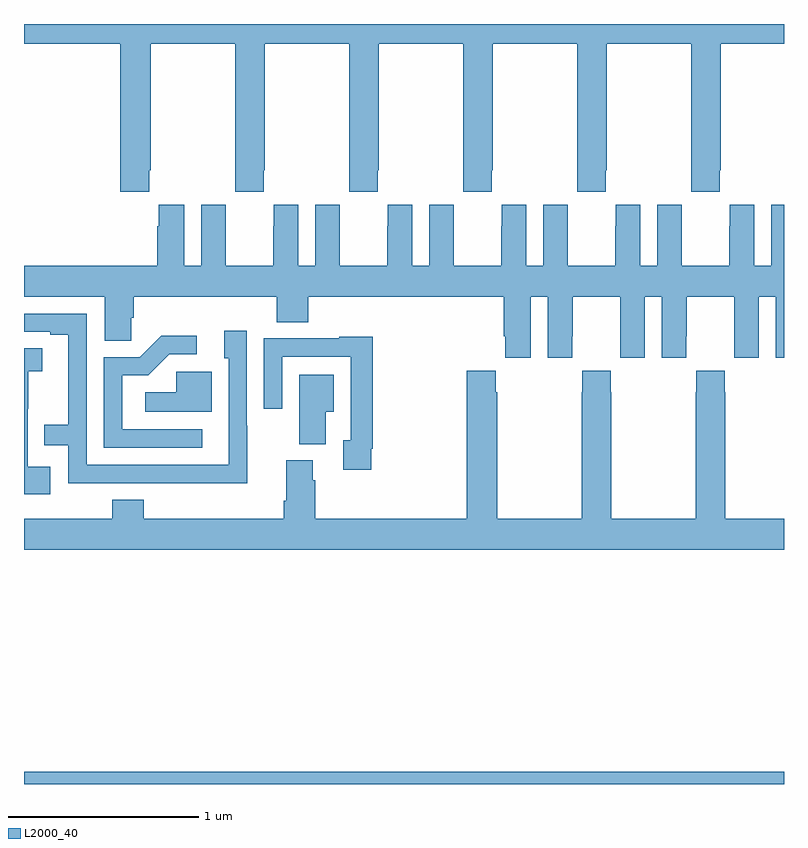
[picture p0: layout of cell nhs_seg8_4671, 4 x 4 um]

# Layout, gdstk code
import gdstk
lib = gdstk.Library(unit=1e-6, precision=1e-09)
def R(c, l, rs):  # rectangles x0, y0, x1, y1
    for r in rs: c.add(gdstk.rectangle(r[:2], r[2:], *l))
def P(c, l, *ps):  # polygons
    for p in ps: c.add(gdstk.Polygon(p, *l))
L2000_40 = (2000, 40)

nhs_seg8_4671 = lib.new_cell('nhs_seg8_4671')
R(nhs_seg8_4671, L2000_40, [(393,1149.9,397,1149.964)])
P(nhs_seg8_4671, L2000_40, [(393.659,1153.129),(393.666,1153.129),(393.666,1153.796),(394.111,1153.796),(394.111,1153.129),(394.113,1153.129),(394.113,1153.017),(394.263,1153.017),(394.263,1153.129),(394.266,1153.129),(394.266,1153.796),(394.711,1153.796),(394.711,1153.129),(394.713,1153.129),(394.713,1153.017),(394.863,1153.017),(394.863,1153.129),(394.866,1153.129),(394.866,1153.796),(395.311,1153.796),(395.311,1153.129),(395.313,1153.129),(395.313,1153.017),(395.463,1153.017),(395.463,1153.129),(395.466,1153.129),(395.466,1153.796),(395.911,1153.796),(395.911,1153.129),(395.913,1153.129),(395.913,1153.017),(396.063,1153.017),(396.063,1153.129),(396.066,1153.129),(396.066,1153.796),(396.511,1153.796),(396.511,1153.129),(396.513,1153.129),(396.513,1153.017),(396.663,1153.017),(396.663,1153.129),(396.666,1153.129),(396.666,1153.796),(397,1153.796),(397,1153.9),(393,1153.9),(393,1153.796),(393.506,1153.796),(393.506,1153.017),(393.659,1153.017)],
  [(395.668,1152.464),(395.756,1152.464),(395.756,1152.144),(395.886,1152.144),(395.886,1152.256),(395.887,1152.256),(395.887,1152.464),(396.137,1152.464),(396.137,1152.256),(396.138,1152.256),(396.138,1152.144),(396.268,1152.144),(396.268,1152.464),(396.356,1152.464),(396.356,1152.144),(396.486,1152.144),(396.486,1152.256),(396.487,1152.256),(396.487,1152.464),(396.737,1152.464),(396.737,1152.256),(396.738,1152.256),(396.738,1152.144),(396.868,1152.144),(396.868,1152.464),(396.956,1152.464),(396.956,1152.144),(397,1152.144),(397,1152.949),(396.932,1152.949),(396.932,1152.628),(396.844,1152.628),(396.844,1152.949),(396.714,1152.949),(396.714,1152.836),(396.713,1152.836),(396.713,1152.628),(396.463,1152.628),(396.463,1152.836),(396.462,1152.836),(396.462,1152.949),(396.332,1152.949),(396.332,1152.628),(396.244,1152.628),(396.244,1152.949),(396.114,1152.949),(396.114,1152.836),(396.113,1152.836),(396.113,1152.628),(395.863,1152.628),(395.863,1152.836),(395.862,1152.836),(395.862,1152.949),(395.732,1152.949),(395.732,1152.628),(395.644,1152.628),(395.644,1152.949),(395.514,1152.949),(395.514,1152.836),(395.513,1152.836),(395.513,1152.628),(395.263,1152.628),(395.263,1152.836),(395.262,1152.836),(395.262,1152.949),(395.132,1152.949),(395.132,1152.628),(395.044,1152.628),(395.044,1152.949),(394.914,1152.949),(394.914,1152.836),(394.913,1152.836),(394.913,1152.628),(394.663,1152.628),(394.663,1152.836),(394.662,1152.836),(394.662,1152.949),(394.532,1152.949),(394.532,1152.628),(394.444,1152.628),(394.444,1152.949),(394.314,1152.949),(394.314,1152.836),(394.313,1152.836),(394.313,1152.628),(394.063,1152.628),(394.063,1152.836),(394.062,1152.836),(394.062,1152.949),(393.932,1152.949),(393.932,1152.628),(393.844,1152.628),(393.844,1152.949),(393.71,1152.949),(393.71,1152.836),(393.701,1152.836),(393.701,1152.628),(393,1152.628),(393,1152.464),(393.425,1152.464),(393.425,1152.232),(393.564,1152.232),(393.564,1152.355),(393.578,1152.355),(393.578,1152.464),(394.331,1152.464),(394.331,1152.331),(394.496,1152.331),(394.496,1152.464),(395.525,1152.464),(395.525,1152.256),(395.534,1152.256),(395.534,1152.144),(395.668,1152.144)],
  [(394.175,1151.786),(394.173,1151.786),(394.173,1152.286),(394.055,1152.286),(394.055,1152.141),(394.077,1152.141),(394.077,1151.58),(393.33,1151.58),(393.33,1152.375),(393,1152.375),(393,1152.279),(393.137,1152.279),(393.137,1152.264),(393.233,1152.264),(393.233,1151.791),(393.106,1151.791),(393.106,1151.682),(393.234,1151.682),(393.234,1151.484),(393.712,1151.484),(393.712,1151.483),(394.175,1151.483)],
  [(393.937,1151.766),(393.516,1151.766),(393.516,1152.051),(393.654,1152.051),(393.765,1152.162),(393.91,1152.162),(393.91,1152.26),(393.722,1152.26),(393.609,1152.147),(393.42,1152.147),(393.42,1151.67),(393.937,1151.67)],
  [(394.828,1151.665),(394.835,1151.665),(394.835,1152.253),(394.659,1152.253),(394.659,1152.246),(394.263,1152.246),(394.263,1151.874),(394.359,1151.874),(394.359,1152.15),(394.719,1152.15),(394.719,1151.709),(394.679,1151.709),(394.679,1151.553),(394.828,1151.553)],
  [(393.139,1151.571),(393.021,1151.571),(393.021,1151.875),(393.023,1151.875),(393.023,1152.073),(393.097,1152.073),(393.097,1152.194),(393,1152.194),(393,1151.424),(393.139,1151.424)],
  [(397,1151.296),(396.69,1151.296),(396.69,1151.963),(396.687,1151.963),(396.687,1152.076),(396.537,1152.076),(396.537,1151.963),(396.535,1151.963),(396.535,1151.296),(396.09,1151.296),(396.09,1151.963),(396.087,1151.963),(396.087,1152.076),(395.937,1152.076),(395.937,1151.963),(395.935,1151.963),(395.935,1151.296),(395.49,1151.296),(395.49,1151.963),(395.483,1151.963),(395.483,1152.076),(395.33,1152.076),(395.33,1151.296),(394.532,1151.296),(394.532,1151.498),(394.519,1151.498),(394.519,1151.604),(394.379,1151.604),(394.379,1151.392),(394.367,1151.392),(394.367,1151.296),(393.629,1151.296),(393.629,1151.395),(393.464,1151.395),(393.464,1151.296),(393,1151.296),(393,1151.132),(397,1151.132)],
  [(393.988,1152.069),(393.801,1152.069),(393.801,1151.962),(393.639,1151.962),(393.639,1151.858),(393.988,1151.858)],
  [(394.588,1151.858),(394.63,1151.858),(394.63,1152.055),(394.448,1152.055),(394.448,1151.689),(394.588,1151.689)])

lib.write_gds('nhs_seg8_4671.gds')
